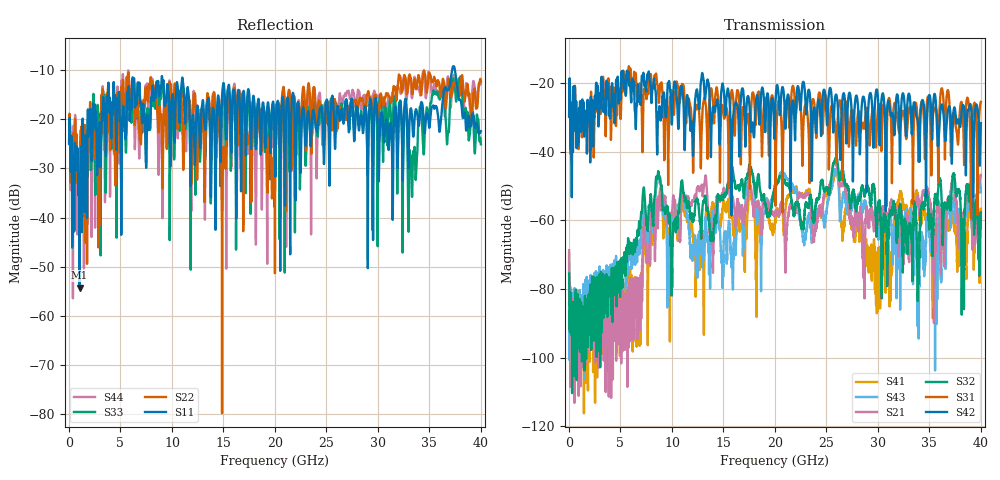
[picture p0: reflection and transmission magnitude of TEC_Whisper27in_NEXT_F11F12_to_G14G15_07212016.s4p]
! TE Connectivity
! F11F12-G14G15_NEXT
!! PART DESCRIPTION: Whisper 27in Megtron 6 HVLP-HVLP-HVLP Channel Model, bulkhead 2.92mm test points
!! MODEL DESCRIPTION: System 4-port S-parameter
!! MODEL STATUS: Measured
!! MODEL GEOMETRY: Channel Model
!! MODEL FREQUENCY RANGE: DC to 40 GHz in 10 MHz frequency steps
!! MODEL EDGE RATE LIMITATION: 12.5 ps (Using conservative 0.5/Fmax rule of thumb)
!! TIME-DOMAIN TRANSFORM CAUTIONS:
!! 1.) Do not simulate transient edge rates faster than the number listed above.  Edge
!!  rates faster than this number contain significant spectral content at frequencies
!!  above the model's highest frequency.
!! 2.) Even when simulating edge rates that are slower than the number listed above, be
!!  aware that the best time resolution possible with a direct iFFT is (1 / 2Fmax).
!!  As a result, time resolution is typically not adequate for most time-domain
!!  simulations unless tricks such as frequency-domain zero-padding and windowing are
!!  used to minimize leakage and aliasing.
!! 3.) Because the model has a uniform frequency step, a direct iFFT will result in an
!!  impulse that that has a time length given by either (1 / Fstep) or (1 / 2Fstep),
!!  depending on the transform being used.  Care has been taken in selecting the
!!  frequency step to ensure a settled impulse response for the model.  Therefore,
!!  convolution with the model's impulse response should present no issues.  However,
!!  if directly concatenating s-parameter models in the frequency domain a user must
!!  either interpolate necessary interim frequencies or complete impulse response
!!  zero-padding.  Impulse response zero-padding is more difficult, but more accurate.
!! PORT DEFINITIONS:
!! Port  1  ----->  Side A  F11  G14  Side B  <-----  Port  2
!! Port  3  ----->  Side A  F12  G15  Side B  <-----  Port  4
! Point-to-Point link (differential)  !
! Connectors:  !
!  1: STRADA Whisper 3.9mm  !
! Materials:  !
!  Backplane: Megtron-6 HVLP  !
!  Daughtercard: Megtron-6 HVLP  !
! Stack-up:  !
!  Backplane: 20 layers, 190mil thick  !
!  Daughtercard: 14 layers, 110mil thick  !
! Trace Length:  !
!  Backplane: 17in  !
!  Daughtercards: 5in  !
! Trace Width:  !
!  Backplane: 5.75-6.25-5.75 mils  !
!  Daughtercards: 6-9-6 mils  !
! Geometry:  !
!  Backplane: Stripline  !
!  Daughtercards: Stripline  !
! Layer Connections:  !
!  Backplane: Layer 16, counterbored(1-6mil stub)  !
!  Daughtercard: Layer 9, counterbored(1-6mil stub) !
! Freq. Range: 0 GHz - 40 GHz  !
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# hz S ma R 50
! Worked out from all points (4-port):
!   4000 points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, 10 MHz to 40 GHz, reference 50 ohm
!   strongest paths, dB at 10 MHz, 10.01 GHz, 20.01 GHz, 30.01 GHz, 40 GHz:
!     S42: -29.6, -30.9, -29.3, -24.5, -31.6
!     S31: -29.9, -24.7, -36.7, -27.4, -25.5
!     S32: -75.5, -79.6, -50.8, -56.5, -57.6
!     S21: -68.6, -57.4, -58.6, -57.4, -46.9
!     S43: -72.6, -63.4, -49.4, -64.0, -51.7
!     S41: -69.6, -60.6, -60.3, -77.8, -57.1
!   lowest |S11| = -54.2 dB at 1.02 GHz (marker M1), VSWR 1.00, Z = 49.8 + j0.0404 ohm
!   |S11| at or under -10 dB: start of sweep to 37.21 GHz; 37.48 GHz to end of sweep
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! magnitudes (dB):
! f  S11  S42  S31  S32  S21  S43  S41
! 10 MHz  -25.0  -29.6  -29.9  -75.5  -68.6  -72.6  -69.6
! 1.02 GHz  -54.2  -33.6  -32.1  -89.2  -88.8  -82.3  -87.4
! 8.64 GHz  -12.3  -28.9  -21.9  -46.2  -61.2  -46.9  -56.5
! 25.92 GHz  -21.4  -23.3  -36.2  -41.6  -43.3  -45.3  -45.8
! 30.02 GHz  -25.4  -24.9  -27.1  -55.8  -56.9  -64.1  -68.0
! 33.94 GHz  -21.3  -34.1  -42.9  -76.7  -54.3  -82.0  -53.9
! 40 GHz  -22.4  -31.6  -25.5  -57.6  -46.9  -51.7  -57.1
